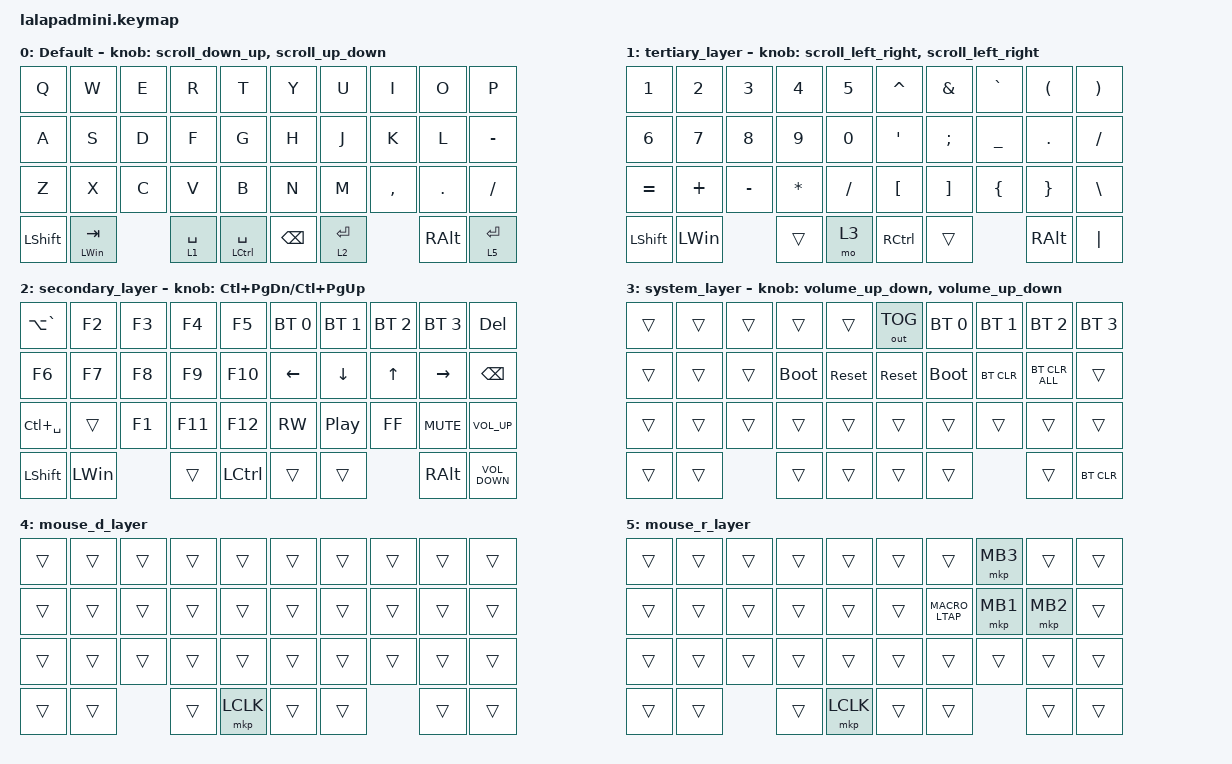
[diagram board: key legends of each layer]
#include <input/processors.dtsi>
#include <behaviors.dtsi>
#include <dt-bindings/zmk/bt.h>
#include <dt-bindings/zmk/keys.h>
#include <dt-bindings/zmk/outputs.h>
#include <dt-bindings/zmk/pointing.h>

#define DEFAULT_LAYER   0
#define SECONDARY_LAYER 1
#define TERTIARY_LAYER  2
#define SYSTEM_LAYER    3
#define MOUSE_R_LAYER   4
#define SCROLL_R_LAYER  5
#define MOUSE_L_LAYER   6
#define SCROLL_L_LAYER  7

// Mouse Scroll Value

#define ZMK_POINTING_DEFAULT_SCRL_VAL 100

// cirque trackpad input&layer control

&glidepoint_listener_R {
    input-processors =
        <&zip_xy_transform (INPUT_TRANSFORM_XY_SWAP | INPUT_TRANSFORM_X_INVERT | INPUT_TRANSFORM_Y_INVERT)>,
        <&zip_xy_scaler 3 2>,
        <&zip_temp_layer MOUSE_R_LAYER 300>;

    lowspeedmode {
        layers = <SECONDARY_LAYER>;
        input-processors =
            <&zip_xy_transform (INPUT_TRANSFORM_XY_SWAP | INPUT_TRANSFORM_X_INVERT | INPUT_TRANSFORM_Y_INVERT)>,
            <&zip_xy_scaler 3 5>,
            <&zip_temp_layer MOUSE_R_LAYER 300>;
    };

    scroller {
        layers = <SCROLL_R_LAYER>;
        input-processors =
            <&zip_xy_to_scroll_mapper>,
            <&zip_scroll_transform (INPUT_TRANSFORM_XY_SWAP | INPUT_TRANSFORM_Y_INVERT)>,
            <&zip_scroll_scaler 1 32>;
    };
};

&glidepoint_listener_L {
    input-processors =
        <&zip_xy_transform (INPUT_TRANSFORM_XY_SWAP | INPUT_TRANSFORM_X_INVERT | INPUT_TRANSFORM_Y_INVERT)>,
        <&zip_xy_scaler 3 2>,
        <&zip_temp_layer MOUSE_L_LAYER 300>;

    lowspeedmode {
        layers = <TERTIARY_LAYER>;
        input-processors =
            <&zip_xy_transform (INPUT_TRANSFORM_XY_SWAP | INPUT_TRANSFORM_X_INVERT | INPUT_TRANSFORM_Y_INVERT)>,
            <&zip_xy_scaler 3 4>,
            <&zip_temp_layer MOUSE_L_LAYER 300>;
    };

    scroller {
        layers = <SCROLL_L_LAYER>;
        input-processors =
            <&zip_xy_to_scroll_mapper>,
            <&zip_scroll_transform (INPUT_TRANSFORM_XY_SWAP | INPUT_TRANSFORM_Y_INVERT)>,
            <&zip_scroll_scaler 1 32>;
    };
};

&mt { quick-tap-ms = <200>; };

&lt { quick-tap-ms = <200>; };

/ {
    behaviors {
        // Encoder to Mouse Scroll

        scroll_up_down: behavior_sensor_rotate_mouse_wheel_up_down {
            compatible = "zmk,behavior-sensor-rotate";
            #sensor-binding-cells = <0>;
            bindings = <&msc SCRL_UP>, <&msc SCRL_DOWN>;

            tap-ms = <20>;
        };

        scroll_down_up: behavior_sensor_rotate_mouse_wheel_down_up {
            compatible = "zmk,behavior-sensor-rotate";
            #sensor-binding-cells = <0>;
            bindings = <&msc SCRL_DOWN>, <&msc SCRL_UP>;

            tap-ms = <20>;
        };

        scroll_left_right: behavior_sensor_rotate_mouse_wheel_left_right {
            compatible = "zmk,behavior-sensor-rotate";
            #sensor-binding-cells = <0>;
            bindings = <&msc SCRL_LEFT>, <&msc SCRL_RIGHT>;

            tap-ms = <20>;
        };

        scroll_right_left: behavior_sensor_rotate_mouse_wheel_right_left {
            compatible = "zmk,behavior-sensor-rotate";
            #sensor-binding-cells = <0>;
            bindings = <&msc SCRL_RIGHT>, <&msc SCRL_LEFT>;

            tap-ms = <20>;
        };

        volume_up_down: behavior_sensor_rotate_volume_up_down {
            compatible = "zmk,behavior-sensor-rotate";
            #sensor-binding-cells = <0>;
            bindings = <&kp C_VOLUME_UP>, <&kp C_VOLUME_DOWN>;

            tap-ms = <20>;
        };

        mt2: mod_tap2 {
            compatible = "zmk,behavior-hold-tap";
            #binding-cells = <2>;
            flavor = "tap-preferred";
            tapping-term-ms = <200>;
            quick-tap-ms = <200>;
            require-prior-idle-ms = <125>;
            bindings = <&kp>, <&kp>;
        };

        tap_dance_layer_1and2: tap_dance_layer_1and2 {
            compatible = "zmk,behavior-tap-dance";
            label = "td_mo12";
            #binding-cells = <0>;
            bindings = <&mo 1>, <&mo 3>;
        };
    };

    combos {
        compatible = "zmk,combos";

        CONBO_ESC {
            bindings = <&kp ESCAPE>;
            key-positions = <0 1>;
        };
    };

    macros {
        MACRO_LTAP: MACRO_LTAP {
            compatible = "zmk,behavior-macro";
            #binding-cells = <0>;
            bindings = <&mkp LCLK>;
            label = "MACRO_LTAP";
        };
    };

    keymap {
        compatible = "zmk,keymap";

        DEFAULT_LAYER {
            display-name = "Default";
            sensor-bindings = <&scroll_down_up>, <&scroll_up_down>;

            bindings = <
&kp Q           &kp W             &kp E  &kp R        &kp T            &kp Y          &kp U        &kp I      &kp O          &kp P
&kp A           &kp S             &kp D  &kp F        &kp G            &kp H          &kp J        &kp K      &kp L          &kp MINUS
&kp Z           &kp X             &kp C  &kp V        &kp B            &kp N          &kp M        &kp COMMA  &kp PERIOD     &kp SLASH
&kp LEFT_SHIFT  &mt LEFT_WIN TAB         &lt 1 SPACE  &mt LCTRL SPACE  &kp BACKSPACE  &lt 2 ENTER             &kp RIGHT_ALT  &lt 5 ENTER
            >;
        };

        NUM {
            display-name = "tertiary_layer";
            bindings = <
&kp NUMBER_1    &kp NUMBER_2  &kp NUMBER_3  &kp NUMBER_4  &kp NUMBER_5  &kp CARET         &kp AMPERSAND      &kp GRAVE       &kp LEFT_PARENTHESIS  &kp RIGHT_PARENTHESIS
&kp NUMBER_6    &kp NUMBER_7  &kp NUMBER_8  &kp NUMBER_9  &kp NUMBER_0  &kp APOSTROPHE    &kp SEMICOLON      &kp UNDERSCORE  &kp DOT               &kp SLASH
&kp EQUAL       &kp PLUS      &kp MINUS     &kp ASTRK     &kp SLASH     &kp LEFT_BRACKET  &kp RIGHT_BRACKET  &kp LEFT_BRACE  &kp RIGHT_BRACE       &kp BACKSLASH
&kp LEFT_SHIFT  &kp LEFT_WIN                &trans        &mo 3         &kp RCTRL         &trans                             &kp RIGHT_ALT         &kp PIPE
            >;

            sensor-bindings = <&scroll_left_right>, <&scroll_left_right>;
        };

        FUNCTION {
            display-name = "secondary_layer";
            sensor-bindings = <&inc_dec_kp LC(PAGE_DOWN) LC(PAGE_UP)>;
            bindings = <
&kp LA(GRAVE)   &kp F2        &kp F3  &kp F4   &kp F5     &bt BT_SEL 0  &bt BT_SEL 1  &bt BT_SEL 2  &bt BT_SEL 3   &kp DELETE
&kp F6          &kp F7        &kp F8  &kp F9   &kp F10    &kp LEFT      &kp DOWN      &kp UP        &kp RIGHT      &kp BACKSPACE
&kp LC(SPACE)   &trans        &kp F1  &kp F11  &kp F12    &kp C_RW      &kp C_PP      &kp C_FF      &kp C_MUTE     &kp C_VOL_UP
&kp LEFT_SHIFT  &kp LEFT_WIN          &trans   &kp LCTRL  &trans        &trans                      &kp RIGHT_ALT  &kp C_VOLUME_DOWN
            >;
        };

        BT {
            display-name = "system_layer";
            sensor-bindings = <&volume_up_down>, <&volume_up_down>;

            bindings = <
&trans  &trans  &trans  &trans       &trans      &out OUT_TOG  &bt BT_SEL 0  &bt BT_SEL 1  &bt BT_SEL 2    &bt BT_SEL 3
&trans  &trans  &trans  &bootloader  &sys_reset  &sys_reset    &bootloader   &bt BT_CLR    &bt BT_CLR_ALL  &trans
&trans  &trans  &trans  &trans       &trans      &trans        &trans        &trans        &trans          &trans
&trans  &trans          &trans       &trans      &trans        &trans                      &trans          &bt BT_CLR
            >;
        };

        MOUSE_D_LAYER {
            bindings = <
&trans  &trans  &trans  &trans  &trans     &trans  &trans  &trans  &trans  &trans
&trans  &trans  &trans  &trans  &trans     &trans  &trans  &trans  &trans  &trans
&trans  &trans  &trans  &trans  &trans     &trans  &trans  &trans  &trans  &trans
&trans  &trans          &trans  &mkp LCLK  &trans  &trans          &trans  &trans
            >;

            display-name = "mouse_d_layer";
        };

        MOUSE_R_LAYER {
            display-name = "mouse_r_layer";
            bindings = <
&trans  &trans  &trans  &trans  &trans     &trans  &trans       &mkp MB3  &trans    &trans
&trans  &trans  &trans  &trans  &trans     &trans  &MACRO_LTAP  &mkp MB1  &mkp MB2  &trans
&trans  &trans  &trans  &trans  &trans     &trans  &trans       &trans    &trans    &trans
&trans  &trans          &trans  &mkp LCLK  &trans  &trans                 &trans    &trans
            >;
        };
    };

    conditional_layers {
        compatible = "zmk,conditional-layers";

        System_layer {
            if-layers = <1 3>;
            then-layer = <3>;
        };
    };
};
